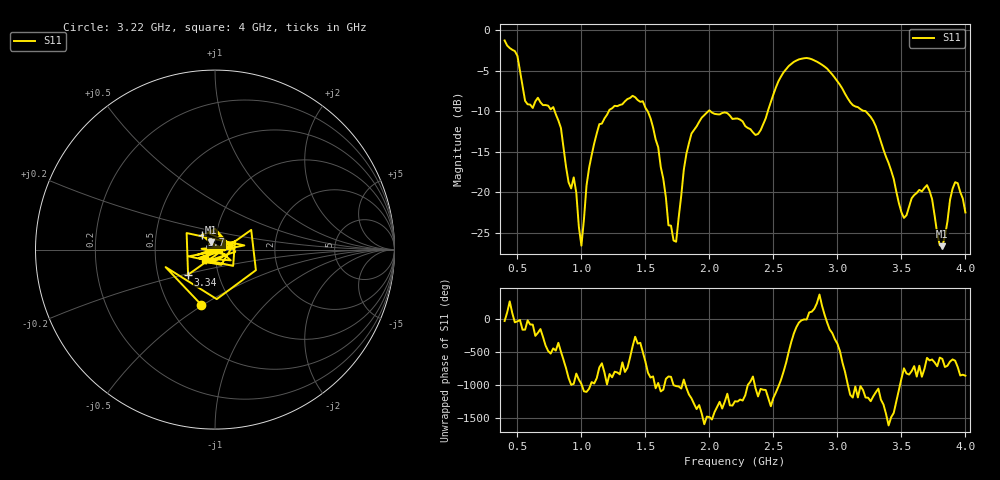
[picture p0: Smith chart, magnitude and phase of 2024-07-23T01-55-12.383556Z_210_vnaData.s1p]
!Created with skrf (http://scikit-rf.org).
# Hz S RI R 50.0
!freq ReS11 ImS11
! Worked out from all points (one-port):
!   181 points, 400 MHz to 4 GHz, reference 50 ohm
!   lowest |S11| = -26.7 dB at 3.82 GHz (marker M1), VSWR 1.10, Z = 47.8 + j3.97 ohm
!   |S11| at or under -10 dB: 1.517 GHz to 1.992 GHz (474.2 MHz wide, 27 % of centre); 2.008 GHz to 2.456 GHz (448.1 MHz wide, 20.1 % of centre); 3.221 GHz to end of sweep (the widest 3 of 4)
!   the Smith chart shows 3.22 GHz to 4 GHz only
!   S11 on the Smith chart (normalised r, x): 3.22 GHz: 0.71, -0.49; 3.34 GHz: 0.71, -0.21; 3.7 GHz: 0.85, +0.14; 4 GHz: 0.89, -0.09
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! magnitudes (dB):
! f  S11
! 400 MHz  -1.2
! 500 MHz  -3.1
! 560 MHz  -8.7
! 780 MHz  -9.5
! 860 MHz  -14.4
! 940 MHz  -18.2
! 1 GHz  -26.6
! 1.04 GHz  -19.2
! 1.12 GHz  -12.7
! 1.3 GHz  -9.2
! 1.48 GHz  -8.8
! 1.6 GHz  -14.4
! 1.68 GHz  -24.1
! 1.74 GHz  -26.1
! 1.76 GHz  -23.1
! 1.86 GHz  -12.8
! 2.2 GHz  -10.9
! 2.38 GHz  -12.8
! 2.66 GHz  -3.9
! 3.1 GHz  -8.9
! 3.22 GHz  -10.0
! 3.34 GHz  -13.8
! 3.5 GHz  -22.5
! 3.56 GHz  -21.8
! 3.7 GHz  -19.1
! 3.82 GHz  -26.7
! 3.92 GHz  -18.8
! 4 GHz  -22.5
